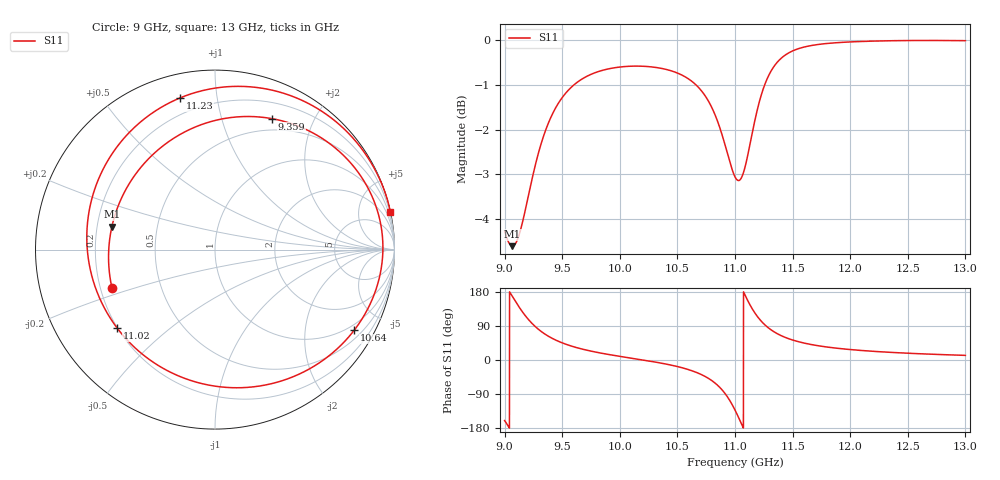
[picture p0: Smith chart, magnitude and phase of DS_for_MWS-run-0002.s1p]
! TOUCHSTONE file generated by CST DESIGN STUDIO
! Date and time: Tue Feb  4 13:35:24 2025
! Project name: C:\Work\MatlabApps\UnitCellOptimizationMatlab\CST\unitcell.cst
! Tree item: Tasks\Sweep1\SPara1\S-Parameters
! Header version: 2024
! Port assignment regex: !\s*Touchstone port\s*([0-9]+)\s*=\s*(CST MWS port|CST DES external port|CST DES block port)\s*(.+)\s* \(\"(.*)\"\)(\s*mode\s*([0-9]+))?.*
! Touchstone port assignment:
! Touchstone port 1 = CST DES external port 1 ("")
# GHz S MA R 50
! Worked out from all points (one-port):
!   4001 points, 9 GHz to 13 GHz, reference 50 ohm
!   lowest |S11| = -4.6 dB at 9.068 GHz (marker M1), VSWR 3.86, Z = 13.1 + j5.09 ohm
!   |S11| at or under -10 dB: nowhere
!   S11 on the Smith chart (normalised r, x): 9 GHz: 0.25, -0.17; 9.359 GHz: 0.37, +1.46; 10.64 GHz: 0.78, -3.56; 11.02 GHz: 0.20, -0.34; 11.23 GHz: 0.12, +0.79; 13 GHz: 0.04, +9.35
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9  0.6123 -159.8
9.068  0.5886 167.5
9.142  0.6162 132.5
9.207  0.6706 106.8
9.276  0.7334 85.5
9.359  0.7953 66.6
9.5  0.863 45.2
9.708  0.9107 26.3
10  0.9336 9.6
10.277  0.9338 -3.8
10.5  0.9192 -17.3
10.642  0.8962 -30.1
10.778  0.8513 -50.1
10.886  0.7854 -78.2
10.947  0.7373 -103.1
11  0.7036 -132.0
11.015  0.6987 -141.3
11.061  0.7042 -171.6
11.104  0.7371 160.7
11.165  0.8053 127.6
11.226  0.8669 103.1
11.281  0.9069 87.0
11.352  0.9402 72.0
11.5  0.9731 52.7
11.701  0.9886 38.7
12  0.9959 27.6
12.5  0.9995 17.9
13  0.9992 12.2
